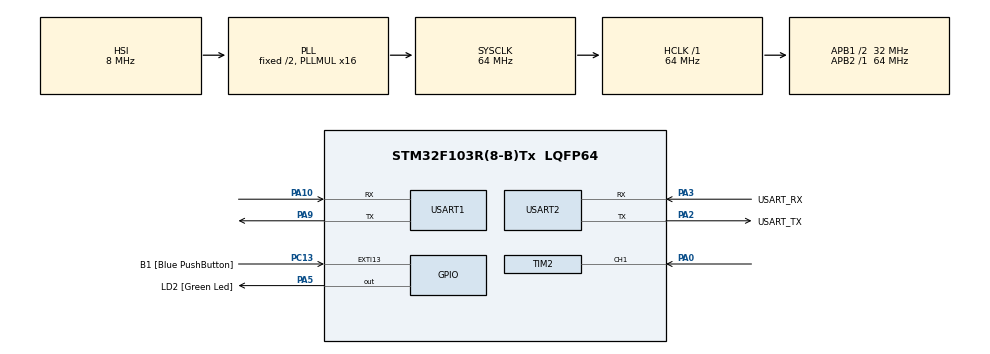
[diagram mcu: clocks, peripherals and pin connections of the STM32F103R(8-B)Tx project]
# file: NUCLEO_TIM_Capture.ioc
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Mcu.Family=STM32F1
Mcu.Name=STM32F103R(8-B)Tx
Mcu.Package=LQFP64
NVIC.EXTI15_10_IRQn=true\:0\:0\:false\:false\:true\:true\:true
NVIC.PriorityGroup=NVIC_PRIORITYGROUP_4
NVIC.TIM2_IRQn=true\:0\:0\:false\:false\:true\:true\:true
PA0-WKUP.Signal=S_TIM2_CH1_ETR
PA10.Mode=Asynchronous
PA10.Signal=USART1_RX
PA13.GPIO_Label=TMS
PA13.Mode=Serial_Wire
PA13.Signal=SYS_JTMS-SWDIO
PA14.GPIO_Label=TCK
PA14.Mode=Serial_Wire
PA14.Signal=SYS_JTCK-SWCLK
PA2.GPIO_Label=USART_TX
PA2.GPIO_Mode=GPIO_MODE_AF_PP
PA2.GPIO_PuPd=GPIO_NOPULL
PA2.GPIO_Speed=GPIO_SPEED_FREQ_LOW
PA2.Mode=Asynchronous
PA2.Signal=USART2_TX
PA3.GPIO_Label=USART_RX
PA3.GPIO_Mode=GPIO_MODE_AF_PP
PA3.GPIO_PuPd=GPIO_NOPULL
PA3.GPIO_Speed=GPIO_SPEED_FREQ_LOW
PA3.Mode=Asynchronous
PA3.Signal=USART2_RX
PA5.GPIO_Label=LD2 [Green Led]
PA5.GPIO_ModeDefaultOutputPP=GPIO_MODE_OUTPUT_PP
PA5.GPIO_PuPd=GPIO_NOPULL
PA5.GPIO_Speed=GPIO_SPEED_FREQ_LOW
PA5.Signal=GPIO_Output
PA9.Mode=Asynchronous
PA9.Signal=USART1_TX
PB3.GPIO_Label=SWO
PB3.Signal=SYS_JTDO-TRACESWO
PC13-TAMPER-RTC.GPIO_Label=B1 [Blue PushButton]
PC13-TAMPER-RTC.GPIO_PuPd=GPIO_NOPULL
PC13-TAMPER-RTC.Signal=GPXTI13
PC14-OSC32_IN.Mode=LSE-External-Oscillator
PC14-OSC32_IN.Signal=RCC_OSC32_IN
PC15-OSC32_OUT.Mode=LSE-External-Oscillator
PC15-OSC32_OUT.Signal=RCC_OSC32_OUT
PD0-OSC_IN.Signal=RCC_OSC_IN
PD1-OSC_OUT.Signal=RCC_OSC_OUT
ProjectManager.HeapSize=0x200
ProjectManager.StackSize=0x400
ProjectManager.TargetToolchain=STM32CubeIDE
RCC.AHBFreq_Value=64000000
RCC.APB1CLKDivider=RCC_HCLK_DIV2
RCC.APB1Freq_Value=32000000
RCC.APB1TimFreq_Value=64000000
RCC.APB2Freq_Value=64000000
RCC.APB2TimFreq_Value=64000000
RCC.HCLKFreq_Value=64000000
RCC.PLLMUL=RCC_PLL_MUL16
RCC.RTCClockSelection=RCC_RTCCLKSOURCE_LSE
RCC.SYSCLKFreq_VALUE=64000000
RCC.SYSCLKSource=RCC_SYSCLKSOURCE_PLLCLK
RCC.USBFreq_Value=64000000
SH.S_TIM2_CH1_ETR.0=TIM2_CH1,Input_Capture1_from_TI1
TIM2.Channel-Input_Capture1_from_TI1=TIM_CHANNEL_1
TIM2.Period=0xffff
TIM2.Prescaler=64-1
TIM2.TIM_MasterOutputTrigger=TIM_TRGO_UPDATE
USART1.VirtualMode=VM_ASYNC
USART2.VirtualMode=VM_ASYNC
VP_TIM2_VS_ClockSourceINT.Mode=Internal
board=NUCLEO-F103RB

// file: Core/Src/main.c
/* USER CODE BEGIN Header */
/**
  ******************************************************************************
  * @file           : main.c
  * @brief          : Main program body
  ******************************************************************************
  * @attention
  *
  * <h2><center>&copy; Copyright (c) 2020 STMicroelectronics.
  * All rights reserved.</center></h2>
  *
  * This software component is licensed by ST under BSD 3-Clause license,
  * the "License"; You may not use this file except in compliance with the
  * License. You may obtain a copy of the License at:
  *                        opensource.org/licenses/BSD-3-Clause
  *
  ******************************************************************************
  */
/* USER CODE END Header */

#include "main.h"
#include "tim.h"
#include "usart.h"
#include "gpio.h"

/* USER CODE BEGIN Includes */
#include "stdio.h"
/* USER CODE END Includes */

/* USER CODE BEGIN PV */
uint32_t Cycle = 0, Width = 0;
/* USER CODE END PV */

void SystemClock_Config(void);

int main(void)
{

  /* MCU Configuration--------------------------------------------------------*/

  /* Reset of all peripherals, Initializes the Flash interface and the Systick. */
  HAL_Init();

  /* Configure the system clock */
  SystemClock_Config();

  /* Initialize all configured peripherals */
  MX_GPIO_Init();
  MX_USART2_UART_Init();
  MX_TIM2_Init();
  MX_USART1_UART_Init();
  /* USER CODE BEGIN 2 */
  HAL_TIM_IC_Start_IT(&htim2, TIM_CHANNEL_1);	// 开启输入捕获中断
  __HAL_TIM_ENABLE_IT(&htim2,TIM_IT_UPDATE);	//使能更新中断
 // long long temp = 0;
  /* USER CODE END 2 */

  /* Infinite loop */
  while (1)
  {

	  HAL_Delay(10);
	  printf("Cycle = %d  Width = %d\r\n", Cycle, Width);
	    // 信号发生器输入信号 串口打印高电平时长  ms
	   /* if (TIM5CH1_CAPTURE_STA & 0x80)   // 如果捕获完成
	    {
	        temp = TIM5CH1_CAPTURE_STA & 0x3f;
	        temp *= 0xffff;				// Total Overflow Time(总的溢出时间)
	        temp += TIM5CH1_CAPTURE_VAL;    // Get Total High Level Time(获取总的高电平时长)
	      //  printf("HIGH: %f ms\r\n", (float)temp/1000); // Print Total High Level Time(打印总的高电平时长)
	        TIM5CH1_CAPTURE_STA = 0;			    // Clear Capture State , Open The Next Capture(清除捕获状态，打开下一次捕获)
	    } */
  }
}

void SystemClock_Config(void)
{
  RCC_OscInitTypeDef RCC_OscInitStruct = {0};
  RCC_ClkInitTypeDef RCC_ClkInitStruct = {0};

  /** Initializes the CPU, AHB and APB busses clocks
  */
  RCC_OscInitStruct.OscillatorType = RCC_OSCILLATORTYPE_HSI;
  RCC_OscInitStruct.HSIState = RCC_HSI_ON;
  RCC_OscInitStruct.HSICalibrationValue = RCC_HSICALIBRATION_DEFAULT;
  RCC_OscInitStruct.PLL.PLLState = RCC_PLL_ON;
  RCC_OscInitStruct.PLL.PLLSource = RCC_PLLSOURCE_HSI_DIV2;
  RCC_OscInitStruct.PLL.PLLMUL = RCC_PLL_MUL16;
  if (HAL_RCC_OscConfig(&RCC_OscInitStruct) != HAL_OK)
  {
    Error_Handler();
  }
  /** Initializes the CPU, AHB and APB busses clocks
  */
  RCC_ClkInitStruct.ClockType = RCC_CLOCKTYPE_HCLK|RCC_CLOCKTYPE_SYSCLK
                              |RCC_CLOCKTYPE_PCLK1|RCC_CLOCKTYPE_PCLK2;
  RCC_ClkInitStruct.SYSCLKSource = RCC_SYSCLKSOURCE_PLLCLK;
  RCC_ClkInitStruct.AHBCLKDivider = RCC_SYSCLK_DIV1;
  RCC_ClkInitStruct.APB1CLKDivider = RCC_HCLK_DIV2;
  RCC_ClkInitStruct.APB2CLKDivider = RCC_HCLK_DIV1;

  if (HAL_RCC_ClockConfig(&RCC_ClkInitStruct, FLASH_LATENCY_2) != HAL_OK)
  {
    Error_Handler();
  }
}

/* USER CODE BEGIN 4 */

//看此教程https://blog.csdn.net/Kevin_8_Lee/article/details/104350954

/*	bit7 捕获完成标识	bit6 捕获到高电平标识	bit5~0 捕获高电平后定时器溢出的次数 */
uint8_t		TIM5CH1_CAPTURE_STA = 0;	// 输入捕获状态
uint32_t	TIM5CH1_CAPTURE_VAL;		// 输入捕获值(TIM2/TIM5是32位的定时器所以这里定义为uint32_t)

// 中断服务函数里面会自动调用这个回调函数  这个是定时器更新中断中处理的函数
void HAL_TIM_PeriodElapsedCallback(TIM_HandleTypeDef *htim)
{
  if (htim->Instance == TIM2)	// 判断是定时器5发生中断
  {
    if ((TIM5CH1_CAPTURE_STA & 0x80) == 0) // 还未成功捕获
    {
      if (TIM5CH1_CAPTURE_STA & 0x40)		   // 捕获到高电平
      {
        if ( (TIM5CH1_CAPTURE_STA & 0x3f) == 0x3f )		// 如果高电平太长  做溢出处理
        {
          TIM5CH1_CAPTURE_STA |= 0x80;				// 标记成功捕获了一次
          TIM5CH1_CAPTURE_VAL = 0xffffffff;
        }
        else
        {
          TIM5CH1_CAPTURE_STA++;		// 若没有溢出, 就只让TIM5CH1_CAPTURE_STA自加就ok
        }
      }
    }
  }
}

// 定时器输入捕获中断处理回调函数，该函数在 HAL_TIM_IRQHandler(TIM_HandleTypeDef *htim) 中会被调用

uint8_t  DownEdgeFlag = 0;
void HAL_TIM_IC_CaptureCallback(TIM_HandleTypeDef *htim)
{
  if ( (TIM5CH1_CAPTURE_STA & 0x80) == 0 )	// 还未成功捕获
  {
    if (TIM5CH1_CAPTURE_STA & 0x40)			// 捕获到一个下降沿
    {
      //TIM5CH1_CAPTURE_STA |= 0x80;		// 标记成功捕获到一次高电平脉宽
      TIM5CH1_CAPTURE_VAL = HAL_TIM_ReadCapturedValue(&htim2, TIM_CHANNEL_1);	// 获取当前的捕获值. 即CCRx2

     // if (TIM5CH1_CAPTURE_STA & 0x80)   // 如果捕获完成
      	   // {
      Width = TIM5CH1_CAPTURE_STA & 0x3f;
      Width *= 0xffff;				// Total Overflow Time(总的溢出时间)
      Width += TIM5CH1_CAPTURE_VAL;    // Get Total High Level Time(获取总的高电平时长)
      	      //  printf("HIGH: %f ms\r\n", (float)temp/1000); // Print Total High Level Time(打印总的高电平时长)
      //TIM5CH1_CAPTURE_STA = 0;			    // Clear Capture State , Open The Next Capture(清除捕获状态，打开下一次捕获)
      	   //}
      TIM5CH1_CAPTURE_STA &= 0xbf;
      DownEdgeFlag = 1;

      TIM_RESET_CAPTUREPOLARITY(&htim2, TIM_CHANNEL_1);						// 清除原来的设置
      TIM_SET_CAPTUREPOLARITY(&htim2, TIM_CHANNEL_1, TIM_ICPOLARITY_RISING);	// 配置TIM5通道1上升沿捕获

    }
    else
    {

    	if(DownEdgeFlag == 1) {
    		TIM5CH1_CAPTURE_VAL = HAL_TIM_ReadCapturedValue(&htim2, TIM_CHANNEL_1);
    		Cycle = TIM5CH1_CAPTURE_STA & 0x3f;
    		Cycle *= 0xffff;				// Total Overflow Time(总的溢出时间)
    		Cycle += TIM5CH1_CAPTURE_VAL;    // Get Total High Level Time(获取总的高电平时长)

    		TIM5CH1_CAPTURE_STA = 0;
    		TIM5CH1_CAPTURE_VAL = 0;

    		DownEdgeFlag = 0;
    	} else {

      TIM5CH1_CAPTURE_STA = 0;	// 清空自定义的状态寄存器
      TIM5CH1_CAPTURE_VAL = 0;	// 清空捕获值
      TIM5CH1_CAPTURE_STA |= 0x40;// 标记捕获到了上升沿
      __HAL_TIM_DISABLE(&htim2);	//关闭定时器5
      __HAL_TIM_SET_COUNTER(&htim2,0);
      TIM_RESET_CAPTUREPOLARITY(&htim2,TIM_CHANNEL_1);   //一定要先清除原来的设置！！
      TIM_SET_CAPTUREPOLARITY(&htim2,TIM_CHANNEL_1,TIM_ICPOLARITY_FALLING);//定时器5通道1设置为下降沿捕获
      __HAL_TIM_ENABLE(&htim2);//使能定时器5
    	}

    }
  }
}

/* USER CODE END 4 */

void Error_Handler(void)
{
}

/************************ (C) COPYRIGHT STMicroelectronics *****END OF FILE****/
